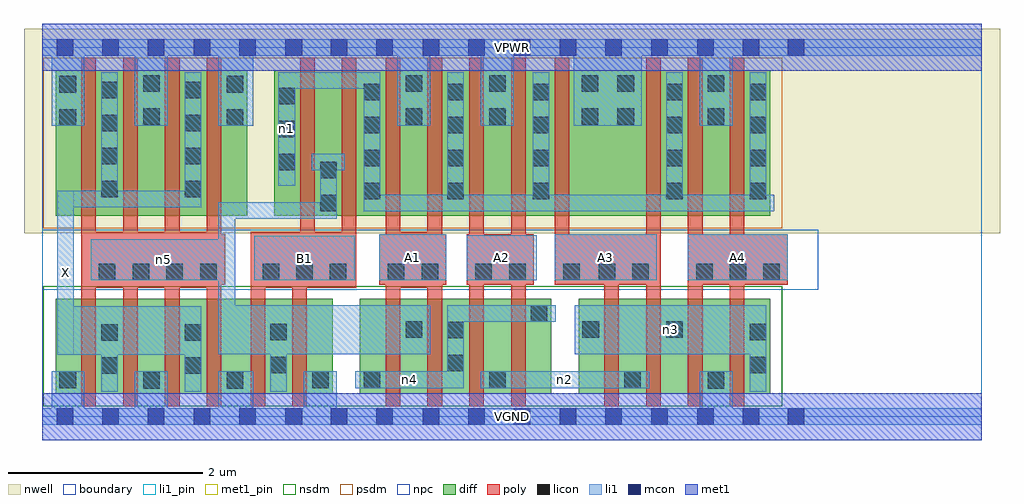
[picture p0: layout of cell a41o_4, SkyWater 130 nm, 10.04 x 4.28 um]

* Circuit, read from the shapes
.subckt a41o_4 A1 A2 A3 A4 B1 VGND VPWR X n1 n2 n3 n4 n5
XM1 X n5 VGND VSUBS sky130_fd_pr__nfet_01v8 w=0.98 l=0.15 m=4
XM2 n5 B1 VGND VSUBS sky130_fd_pr__nfet_01v8 w=0.98 l=0.15 m=2
XM3 n5 A1 n4 VSUBS sky130_fd_pr__nfet_01v8 w=0.98 l=0.15 m=2
XM4 n2 A2 n4 VSUBS sky130_fd_pr__nfet_01v8 w=0.98 l=0.15 m=2
XM5 n2 A3 n3 VSUBS sky130_fd_pr__nfet_01v8 w=0.98 l=0.15 m=2
XM6 VGND A4 n3 VSUBS sky130_fd_pr__nfet_01v8 w=0.98 l=0.15 m=2
XM7 X n5 VPWR n6 sky130_fd_pr__pfet_01v8 w=1.5 l=0.15 m=4
XM8 n5 B1 n1 n6 sky130_fd_pr__pfet_01v8 w=1.5 l=0.15 m=2
XM9 VPWR A1 n1 n6 sky130_fd_pr__pfet_01v8 w=1.5 l=0.15 m=2
XM10 VPWR A2 n1 n6 sky130_fd_pr__pfet_01v8 w=1.5 l=0.15 m=2
XM11 VPWR A3 n1 n6 sky130_fd_pr__pfet_01v8 w=1.5 l=0.15 m=2
XM12 VPWR A4 n1 n6 sky130_fd_pr__pfet_01v8 w=1.5 l=0.15 m=2
.ends

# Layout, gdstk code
import gdstk
lib = gdstk.Library(unit=1e-6, precision=1e-09)
def R(c, l, rs):  # rectangles x0, y0, x1, y1
    for r in rs: c.add(gdstk.rectangle(r[:2], r[2:], *l))
def A(c, l, x, y, w, h, nx, ny, dx, dy):  # array of equal rectangles
    R(c, l, [(x+i*dx, y+j*dy, x+i*dx+w, y+j*dy+h) for i in range(nx) for j in range(ny)])
nwell = (64, 20)
diff = (65, 20)
poly = (66, 20)
licon = (66, 44)
li1_pin = (67, 16)
li1 = (67, 20)
mcon = (67, 44)
met1_pin = (68, 16)
met1 = (68, 20)
nsdm = (93, 44)
psdm = (94, 20)
npc = (95, 20)
boundary = (235, 4)

a41o_4 = lib.new_cell('a41o_4')
R(a41o_4, nwell, [(-0.19,1.885,9.85,3.99), (0,1.885,9.66,3.99)])
R(a41o_4, diff, [(0.135,0.235,2.985,1.215), (3.265,0.235,5.235,1.215), (5.515,0.235,7.485,1.215), (0.135,2.065,2.105,3.565), (2.385,2.065,7.485,3.565)])
A(a41o_4, poly, 0.4, 0.105, 0.15, 3.59, 4, 1, 0.43, 0)
A(a41o_4, poly, 3.53, 0.105, 0.15, 3.59, 4, 1, 0.43, 0)
A(a41o_4, poly, 6.21, 0.105, 0.15, 3.59, 3, 1, 0.43, 0)
R(a41o_4, poly, [(2.14,0.105,2.29,1.905), (2.57,0.105,2.72,1.905), (5.78,0.105,5.93,1.875), (0.4,1.325,1.84,1.905), (2.14,1.325,3.23,1.905), (2.65,1.325,2.8,3.695), (3.08,1.325,3.23,3.695), (3.53,1.325,4.11,1.905), (0.4,1.355,1.88,1.875), (3.465,1.355,4.155,1.875), (4.365,1.355,5.055,1.875), (5.27,1.355,6.36,1.875), (5.27,1.355,5.42,3.695), (6.64,1.355,7.665,1.875)])
A(a41o_4, licon, 2.265, 1.405, 0.17, 0.17, 3, 1, 0.345, 0)
A(a41o_4, licon, 6.725, 1.405, 0.17, 0.17, 3, 1, 0.345, 0)
A(a41o_4, licon, 3.305, 2.235, 0.17, 0.17, 1, 4, 0, 0.34)
A(a41o_4, licon, 4.165, 2.235, 0.17, 0.17, 1, 4, 0, 0.34)
A(a41o_4, licon, 5.045, 2.235, 0.17, 0.17, 1, 4, 0, 0.34)
A(a41o_4, licon, 6.415, 2.235, 0.17, 0.17, 1, 4, 0, 0.34)
A(a41o_4, licon, 7.275, 2.235, 0.17, 0.17, 1, 4, 0, 0.34)
A(a41o_4, licon, 0.605, 2.255, 0.17, 0.17, 1, 4, 0, 0.34)
A(a41o_4, licon, 1.465, 2.255, 0.17, 0.17, 1, 4, 0, 0.34)
A(a41o_4, licon, 2.425, 2.535, 0.17, 0.17, 1, 3, 0, 0.34)
R(a41o_4, licon, [(1.035,0.285,1.205,0.455), (1.895,0.285,2.065,0.455), (6.845,0.285,7.015,0.455), (0.175,0.295,0.345,0.465), (2.775,0.295,2.945,0.465), (3.305,0.295,3.475,0.465), (4.595,0.295,4.765,0.465), (5.985,0.295,6.155,0.465), (0.605,0.44,0.775,0.61), (1.465,0.44,1.635,0.61), (2.345,0.445,2.515,0.615), (7.275,0.445,7.445,0.615), (4.165,0.465,4.335,0.635), (0.605,0.78,0.775,0.95), (1.465,0.78,1.635,0.95), (2.345,0.785,2.515,0.955), (7.275,0.785,7.445,0.955), (4.165,0.805,4.335,0.975), (3.735,0.81,3.905,0.98), (5.555,0.81,5.725,0.98), (6.415,0.81,6.585,0.98), (5.025,0.975,5.195,1.145), (0.58,1.405,0.75,1.575), (0.93,1.405,1.1,1.575), (1.275,1.405,1.445,1.575), (1.625,1.405,1.795,1.575), (3.55,1.405,3.72,1.575), (3.9,1.405,4.07,1.575), (4.45,1.405,4.62,1.575), (4.8,1.405,4.97,1.575), (5.355,1.405,5.525,1.575), (5.72,1.405,5.89,1.575), (6.065,1.405,6.235,1.575), (2.855,2.115,3.025,2.285), (2.855,2.455,3.025,2.625), (0.175,2.995,0.345,3.165), (1.895,2.995,2.065,3.165), (1.035,3.005,1.205,3.175), (3.735,3.005,3.905,3.175), (4.595,3.005,4.765,3.175), (5.545,3.005,5.715,3.175), (5.915,3.005,6.085,3.175), (6.845,3.005,7.015,3.175), (0.175,3.335,0.345,3.505), (1.895,3.335,2.065,3.505), (1.035,3.345,1.205,3.515), (3.735,3.345,3.905,3.515), (4.595,3.345,4.765,3.515), (5.545,3.345,5.715,3.515), (5.915,3.345,6.085,3.515), (6.845,3.345,7.015,3.515)])
R(a41o_4, li1_pin, [(0.15,0.635,0.32,2.325), (2.18,1.405,3.21,1.86), (3.465,1.405,4.155,1.875), (4.365,1.405,5.085,1.865), (5.27,1.405,6.32,1.875), (6.64,1.405,7.665,1.875)])
R(a41o_4, li1, [(0,-0.085,9.66,0.085), (0.095,-0.085,0.43,0.465), (0.95,-0.085,1.29,0.465), (1.81,-0.085,2.17,0.465), (2.69,-0.085,3.025,0.465), (6.76,-0.085,7.1,0.465), (0.605,0.255,0.775,1.135), (1.465,0.255,1.635,1.135), (2.345,0.255,2.515,1.145), (7.275,0.255,7.445,1.145), (3.22,0.295,4.335,0.465), (4.165,0.295,4.335,1.145), (4.51,0.295,6.24,0.465), (0.15,0.635,1.635,1.135), (0.15,0.635,0.32,2.325), (1.81,0.645,3.99,1.145), (1.81,0.645,1.985,2.205), (5.475,0.645,7.445,1.145), (4.165,0.975,5.28,1.145), (0.495,1.405,1.985,1.825), (2.18,1.405,3.21,1.86), (3.465,1.405,4.155,1.875), (4.365,1.405,5.085,1.865), (5.27,1.405,6.32,1.875), (6.64,1.405,7.665,1.875), (1.81,2.035,3.025,2.205), (2.855,2.035,3.025,2.705), (3.305,2.115,7.53,2.285), (3.305,2.115,3.475,3.545), (4.165,2.115,4.335,3.545), (5.045,2.115,5.215,3.545), (6.415,2.115,6.585,3.545), (7.275,2.115,7.445,3.545), (0.15,2.155,1.635,2.325), (0.605,2.155,0.775,3.545), (1.465,2.155,1.635,3.545), (2.425,2.375,2.6,3.545), (2.77,2.535,3.11,2.705), (0.095,2.995,0.43,3.885), (0.95,2.995,1.29,3.885), (1.81,2.995,2.17,3.885), (3.65,2.995,3.99,3.885), (4.51,2.995,4.85,3.885), (5.465,2.995,6.165,3.885), (6.76,2.995,7.1,3.885), (2.425,3.375,3.475,3.545), (0,3.715,9.66,3.885)])
A(a41o_4, mcon, 0.145, -0.085, 0.17, 0.17, 5, 2, 0.47, 3.8)
A(a41o_4, mcon, 3.91, -0.085, 0.17, 0.17, 6, 2, 0.47, 3.8)
R(a41o_4, mcon, [(2.5,-0.085,2.67,0.085), (2.965,-0.085,3.135,0.085), (3.435,-0.085,3.605,0.085), (6.735,-0.085,6.905,0.085), (7.205,-0.085,7.375,0.085), (7.665,-0.085,7.835,0.085), (2.5,3.715,2.67,3.885), (2.965,3.715,3.135,3.885), (3.435,3.715,3.605,3.885), (6.735,3.715,6.905,3.885), (7.205,3.715,7.375,3.885), (7.665,3.715,7.835,3.885)])
R(a41o_4, met1_pin, [(0,-0.24,9.66,0.24), (0,3.56,9.66,4.04)])
R(a41o_4, met1, [(0,-0.24,9.66,0.24), (0,3.56,9.66,4.04)])
R(a41o_4, nsdm, [(0.01,0.11,7.61,1.34)])
R(a41o_4, psdm, [(0.01,1.94,7.61,3.69)])
R(a41o_4, npc, [(0,1.305,7.98,1.925)])
R(a41o_4, boundary, [(0,0,9.66,3.8)])
a41o_4.add(gdstk.Label('A1', (3.81,1.64), layer=67, texttype=5))
a41o_4.add(gdstk.Label('A2', (4.725,1.635), layer=67, texttype=5))
a41o_4.add(gdstk.Label('A3', (5.795,1.64), layer=67, texttype=5))
a41o_4.add(gdstk.Label('A4', (7.152,1.64), layer=67, texttype=5))
a41o_4.add(gdstk.Label('B1', (2.695,1.632), layer=67, texttype=5))
a41o_4.add(gdstk.Label('X', (0.235,1.48), layer=67, texttype=5))
a41o_4.add(gdstk.Label('n2', (5.375,0.38), layer=67, texttype=5))
a41o_4.add(gdstk.Label('n4', (3.777,0.38), layer=67, texttype=5))
a41o_4.add(gdstk.Label('n3', (6.46,0.895), layer=67, texttype=5))
a41o_4.add(gdstk.Label('n5', (1.24,1.615), layer=67, texttype=5))
a41o_4.add(gdstk.Label('n1', (2.512,2.96), layer=67, texttype=5))
a41o_4.add(gdstk.Label('VPWR', (4.83,3.8), layer=68, texttype=5))
a41o_4.add(gdstk.Label('VGND', (4.83,0), layer=68, texttype=5))
a41o_4.add(gdstk.Label('A1', (3.81,1.64), layer=67, texttype=16))
a41o_4.add(gdstk.Label('A2', (4.725,1.635), layer=67, texttype=16))
a41o_4.add(gdstk.Label('A3', (5.795,1.64), layer=67, texttype=16))
a41o_4.add(gdstk.Label('A4', (7.152,1.64), layer=67, texttype=16))
a41o_4.add(gdstk.Label('B1', (2.695,1.632), layer=67, texttype=16))
a41o_4.add(gdstk.Label('X', (0.235,1.48), layer=67, texttype=16))
a41o_4.add(gdstk.Label('VPWR', (4.83,3.8), layer=68, texttype=16))
a41o_4.add(gdstk.Label('VGND', (4.83,0), layer=68, texttype=16))

lib.write_gds('a41o_4.gds')
